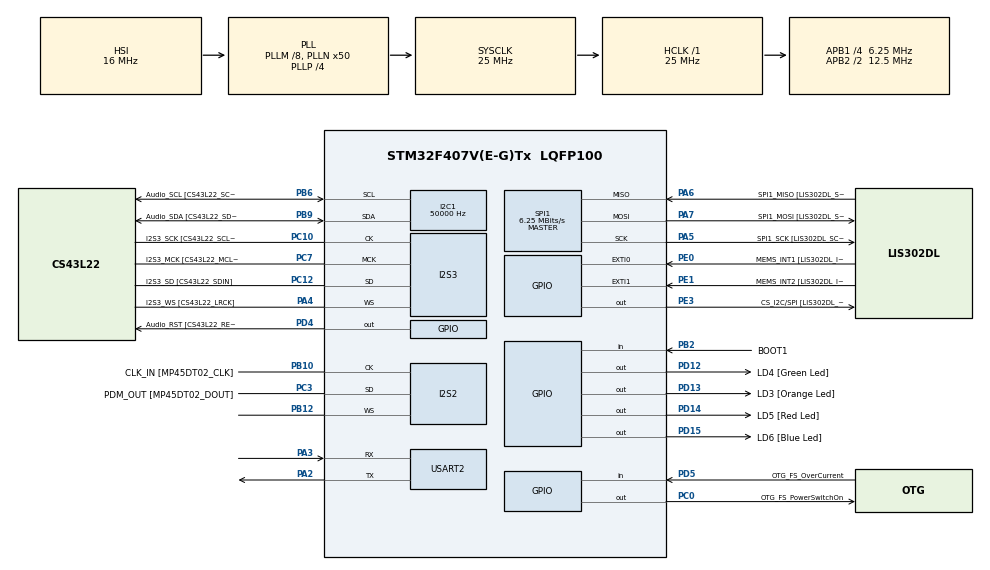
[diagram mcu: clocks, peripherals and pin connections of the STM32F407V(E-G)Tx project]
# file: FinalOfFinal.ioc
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I2C1.ClockSpeed=50000
I2S2.ErrorAudioFreq=2.3 %
I2S2.Mode=I2S_MODE_MASTER_RX
I2S2.RealAudioFreq=196.428 KHz
I2S3.AudioFreq=I2S_AUDIOFREQ_44K
I2S3.ErrorAudioFreq=-2.34 %
I2S3.RealAudioFreq=42.968 KHz
Mcu.Family=STM32F4
Mcu.Name=STM32F407V(E-G)Tx
Mcu.Package=LQFP100
NVIC.PriorityGroup=NVIC_PRIORITYGROUP_0
PA10.GPIO_Label=OTG_FS_ID
PA10.GPIO_Mode=GPIO_MODE_AF_PP
PA10.GPIO_PuPd=GPIO_NOPULL
PA10.GPIO_Speed=GPIO_SPEED_FREQ_LOW
PA10.Signal=USB_OTG_FS_ID
PA11.GPIO_Label=OTG_FS_DM
PA11.GPIO_Mode=GPIO_MODE_AF_PP
PA11.GPIO_PuPd=GPIO_NOPULL
PA11.GPIO_Speed=GPIO_SPEED_FREQ_LOW
PA11.Signal=USB_OTG_FS_DM
PA12.GPIO_Label=OTG_FS_DP
PA12.GPIO_Mode=GPIO_MODE_AF_PP
PA12.GPIO_PuPd=GPIO_NOPULL
PA12.GPIO_Speed=GPIO_SPEED_FREQ_LOW
PA12.Signal=USB_OTG_FS_DP
PA13.GPIO_Label=SWDIO
PA13.Signal=SYS_JTMS-SWDIO
PA14.GPIO_Label=SWCLK
PA14.Signal=SYS_JTCK-SWCLK
PA2.Mode=Asynchronous
PA2.Signal=USART2_TX
PA3.Mode=Asynchronous
PA3.Signal=USART2_RX
PA4.GPIO_Label=I2S3_WS [CS43L22_LRCK]
PA4.GPIO_Mode=GPIO_MODE_AF_PP
PA4.GPIO_PuPd=GPIO_NOPULL
PA4.GPIO_Speed=GPIO_SPEED_FREQ_LOW
PA4.Mode=Half_Duplex_Master
PA4.Signal=I2S3_WS
PA5.GPIO_Label=SPI1_SCK [LIS302DL_SCL/SPC]
PA5.GPIO_Mode=GPIO_MODE_AF_PP
PA5.GPIO_PuPd=GPIO_NOPULL
PA5.GPIO_Speed=GPIO_SPEED_FREQ_LOW
PA5.Mode=Full_Duplex_Master
PA5.Signal=SPI1_SCK
PA6.GPIO_Label=SPI1_MISO [LIS302DL_SDO]
PA6.GPIO_Mode=GPIO_MODE_AF_PP
PA6.GPIO_PuPd=GPIO_NOPULL
PA6.GPIO_Speed=GPIO_SPEED_FREQ_LOW
PA6.Mode=Full_Duplex_Master
PA6.Signal=SPI1_MISO
PA7.GPIO_Label=SPI1_MOSI [LIS302DL_SDA/SDI/SDO]
PA7.GPIO_Mode=GPIO_MODE_AF_PP
PA7.GPIO_PuPd=GPIO_NOPULL
PA7.GPIO_Speed=GPIO_SPEED_FREQ_LOW
PA7.Mode=Full_Duplex_Master
PA7.Signal=SPI1_MOSI
PA9.GPIO_Label=VBUS_FS
PA9.GPIO_Mode=GPIO_MODE_INPUT
PA9.GPIO_PuPd=GPIO_NOPULL
PA9.Signal=USB_OTG_FS_VBUS
PB10.GPIO_Label=CLK_IN [MP45DT02_CLK]
PB10.GPIO_Mode=GPIO_MODE_AF_PP
PB10.GPIO_PuPd=GPIO_NOPULL
PB10.GPIO_Speed=GPIO_SPEED_FREQ_LOW
PB10.Mode=Half_Duplex_Master
PB10.Signal=I2S2_CK
PB12.Mode=Half_Duplex_Master
PB12.Signal=I2S2_WS
PB2.GPIO_Label=BOOT1
PB2.GPIO_Mode=GPIO_MODE_INPUT
PB2.GPIO_PuPd=GPIO_NOPULL
PB2.Signal=GPIO_Input
PB3.GPIO_Label=SWO
PB3.Signal=SYS_JTDO-SWO
PB6.GPIO_Label=Audio_SCL [CS43L22_SCL]
PB6.GPIO_Mode=GPIO_MODE_AF_OD
PB6.GPIO_PuPd=GPIO_NOPULL
PB6.GPIO_Speed=GPIO_SPEED_FREQ_LOW
PB6.Mode=I2C
PB6.Signal=I2C1_SCL
PB9.GPIO_Label=Audio_SDA [CS43L22_SDA]
PB9.GPIO_Mode=GPIO_MODE_AF_OD
PB9.GPIO_PuPd=GPIO_NOPULL
PB9.GPIO_Speed=GPIO_SPEED_FREQ_LOW
PB9.Mode=I2C
PB9.Signal=I2C1_SDA
PC0.GPIO_Label=OTG_FS_PowerSwitchOn
PC0.GPIO_PuPd=GPIO_NOPULL
PC0.GPIO_Speed=GPIO_SPEED_FREQ_LOW
PC0.PinState=GPIO_PIN_SET
PC0.Signal=GPIO_Output
PC10.GPIO_Label=I2S3_SCK [CS43L22_SCLK]
PC10.GPIO_Mode=GPIO_MODE_AF_PP
PC10.GPIO_PuPd=GPIO_NOPULL
PC10.GPIO_Speed=GPIO_SPEED_FREQ_LOW
PC10.Mode=Half_Duplex_Master
PC10.Signal=I2S3_CK
PC12.GPIO_Label=I2S3_SD [CS43L22_SDIN]
PC12.GPIO_Mode=GPIO_MODE_AF_PP
PC12.GPIO_PuPd=GPIO_NOPULL
PC12.GPIO_Speed=GPIO_SPEED_FREQ_LOW
PC12.Mode=Half_Duplex_Master
PC12.Signal=I2S3_SD
PC14-OSC32_IN.GPIO_Label=PC14-OSC32_IN
PC14-OSC32_IN.Signal=RCC_OSC32_IN
PC15-OSC32_OUT.GPIO_Label=PC15-OSC32_OUT
PC15-OSC32_OUT.Signal=RCC_OSC32_OUT
PC3.GPIO_Label=PDM_OUT [MP45DT02_DOUT]
PC3.GPIO_Mode=GPIO_MODE_AF_PP
PC3.GPIO_PuPd=GPIO_NOPULL
PC3.GPIO_Speed=GPIO_SPEED_FREQ_LOW
PC3.Mode=Half_Duplex_Master
PC3.Signal=I2S2_SD
PC7.GPIO_Label=I2S3_MCK [CS43L22_MCLK]
PC7.GPIO_Mode=GPIO_MODE_AF_PP
PC7.GPIO_PuPd=GPIO_NOPULL
PC7.GPIO_Speed=GPIO_SPEED_FREQ_LOW
PC7.Mode=Master_Clock_Activated
PC7.Signal=I2S3_MCK
PD12.GPIO_Label=LD4 [Green Led]
PD12.GPIO_PuPd=GPIO_NOPULL
PD12.GPIO_Speed=GPIO_SPEED_FREQ_LOW
PD12.Signal=GPIO_Output
PD13.GPIO_Label=LD3 [Orange Led]
PD13.GPIO_PuPd=GPIO_NOPULL
PD13.GPIO_Speed=GPIO_SPEED_FREQ_LOW
PD13.Signal=GPIO_Output
PD14.GPIO_Label=LD5 [Red Led]
PD14.GPIO_PuPd=GPIO_NOPULL
PD14.GPIO_Speed=GPIO_SPEED_FREQ_LOW
PD14.Signal=GPIO_Output
PD15.GPIO_Label=LD6 [Blue Led]
PD15.GPIO_PuPd=GPIO_NOPULL
PD15.GPIO_Speed=GPIO_SPEED_FREQ_LOW
PD15.Signal=GPIO_Output
PD4.GPIO_Label=Audio_RST [CS43L22_RESET]
PD4.GPIO_PuPd=GPIO_NOPULL
PD4.GPIO_Speed=GPIO_SPEED_FREQ_LOW
PD4.Signal=GPIO_Output
PD5.GPIO_Label=OTG_FS_OverCurrent
PD5.GPIO_Mode=GPIO_MODE_INPUT
PD5.GPIO_PuPd=GPIO_NOPULL
PD5.Signal=GPIO_Input
PE0.GPIO_Label=MEMS_INT1 [LIS302DL_INT1]
PE0.Signal=GPXTI0
PE1.GPIO_Label=MEMS_INT2 [LIS302DL_INT2]
PE1.GPIO_ModeDefaultEXTI=GPIO_MODE_EVT_RISING
PE1.GPIO_PuPd=GPIO_NOPULL
PE1.Signal=GPXTI1
PE3.GPIO_Label=CS_I2C/SPI [LIS302DL_CS_I2C/SPI]
PE3.GPIO_PuPd=GPIO_NOPULL
PE3.GPIO_Speed=GPIO_SPEED_FREQ_LOW
PE3.Signal=GPIO_Output
PH0-OSC_IN.GPIO_Label=PH0-OSC_IN
PH0-OSC_IN.Signal=RCC_OSC_IN
PH1-OSC_OUT.GPIO_Label=PH1-OSC_OUT
PH1-OSC_OUT.Signal=RCC_OSC_OUT
ProjectManager.HeapSize=0x200
ProjectManager.StackSize=0x400
ProjectManager.TargetToolchain=SW4STM32
RCC.48MHZClocksFreq_Value=14285714.285714285
RCC.AHBFreq_Value=25000000
RCC.APB1CLKDivider=RCC_HCLK_DIV4
RCC.APB1Freq_Value=6250000
RCC.APB1TimFreq_Value=12500000
RCC.APB2CLKDivider=RCC_HCLK_DIV2
RCC.APB2Freq_Value=12500000
RCC.APB2TimFreq_Value=25000000
RCC.CortexFreq_Value=25000000
RCC.HCLKFreq_Value=25000000
RCC.HSE_VALUE=8000000
RCC.HSI_VALUE=16000000
RCC.LSE_VALUE=1000000
RCC.PLLI2SN=88
RCC.PLLI2SR=4
RCC.PLLM=8
RCC.PLLN=50
RCC.PLLP=RCC_PLLP_DIV4
RCC.PLLQ=7
RCC.SYSCLKFreq_VALUE=25000000
RCC.SYSCLKSource=RCC_SYSCLKSOURCE_PLLCLK
RCC.VCOOutputFreq_Value=100000000
SPI1.CalculateBaudRate=6.25 MBits/s
SPI1.Mode=SPI_MODE_MASTER
VP_TIM1_VS_ClockSourceINT.Mode=Internal
board=STM32F407G-DISC1

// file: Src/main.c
/**
  ******************************************************************************
  * File Name          : main.c
  * Description        : Main program body
  ******************************************************************************
  *
  * COPYRIGHT(c) 2016 STMicroelectronics
  *
  * Redistribution and use in source and binary forms, with or without modification,
  * are permitted provided that the following conditions are met:
  *   1. Redistributions of source code must retain the above copyright notice,
  *      this list of conditions and the following disclaimer.
  *   2. Redistributions in binary form must reproduce the above copyright notice,
  *      this list of conditions and the following disclaimer in the documentation
  *      and/or other materials provided with the distribution.
  *   3. Neither the name of STMicroelectronics nor the names of its contributors
  *      may be used to endorse or promote products derived from this software
  *      without specific prior written permission.
  *
  * THIS SOFTWARE IS PROVIDED BY THE COPYRIGHT HOLDERS AND CONTRIBUTORS "AS IS"
  * AND ANY EXPRESS OR IMPLIED WARRANTIES, INCLUDING, BUT NOT LIMITED TO, THE
  * IMPLIED WARRANTIES OF MERCHANTABILITY AND FITNESS FOR A PARTICULAR PURPOSE ARE
  * DISCLAIMED. IN NO EVENT SHALL THE COPYRIGHT HOLDER OR CONTRIBUTORS BE LIABLE
  * FOR ANY DIRECT, INDIRECT, INCIDENTAL, SPECIAL, EXEMPLARY, OR CONSEQUENTIAL
  * DAMAGES (INCLUDING, BUT NOT LIMITED TO, PROCUREMENT OF SUBSTITUTE GOODS OR
  * SERVICES; LOSS OF USE, DATA, OR PROFITS; OR BUSINESS INTERRUPTION) HOWEVER
  * CAUSED AND ON ANY THEORY OF LIABILITY, WHETHER IN CONTRACT, STRICT LIABILITY,
  * OR TORT (INCLUDING NEGLIGENCE OR OTHERWISE) ARISING IN ANY WAY OUT OF THE USE
  * OF THIS SOFTWARE, EVEN IF ADVISED OF THE POSSIBILITY OF SUCH DAMAGE.
  *
  ******************************************************************************
  */
#include "stm32f4xx_hal.h"

/* USER CODE BEGIN Includes */
#include <stdlib.h>
#define CS GPIOE
#define NCS GPIO_PIN_3
#define MSAM 1
#define Left 1
#define Right 2
#define Up 3
#define Down 4
#define X_SIZE 24
#define Y_SIZE 45
#define Bar 1
#define BarMoveLeft 1
#define BarMoveRight 2
#define BarStay 0
#define BarL 15
#define BarX 21
#define Ball 2
#define BallSX 20
#define BallSY 5
#define BallMove 1
#define BallStay 2
#define MAX_Bullet 1
#define NO_OBJ 0
#define MAX_Moveable_obj 10
#define BulletMove 1
#define Bullet 3
#define WIN 1
#define LOSE 2
/* USER CODE END Includes */

I2C_HandleTypeDef hi2c1;

I2S_HandleTypeDef hi2s2;
I2S_HandleTypeDef hi2s3;

SPI_HandleTypeDef hspi1;

TIM_HandleTypeDef htim1;

UART_HandleTypeDef huart2;

/* USER CODE BEGIN PV */
/* Private variables ---------------------------------------------------------*/

/* USER CODE END PV */

void SystemClock_Config(void);
void Error_Handler(void);
static void MX_GPIO_Init(void);
static void MX_I2C1_Init(void);
static void MX_I2S2_Init(void);
static void MX_I2S3_Init(void);
static void MX_SPI1_Init(void);
static void MX_TIM1_Init(void);
static void MX_USART2_UART_Init(void);

/* USER CODE BEGIN PFP */
/* Private function prototypes -----------------------------------------------*/
void send_uart(char* data);
void new_line();
void tab();
uint8_t get_x();
uint8_t get_y();
uint8_t get_z();
uint8_t isLoud();
uint8_t cal_sum(uint16_t data);
void Audio_Init();
void Play_note(int r);
int write_Audio_data(uint8_t address,uint8_t data);
uint8_t read_Audio_data_at(uint8_t address);

/* USER CODE END PFP */

/* USER CODE BEGIN 0 */
uint16_t temp[1];

uint8_t note[] = {
	0x0A, 0x1A, 0x2A, 0x3A, 0x4A, 0x5A, 0x6A, 0x7A, 0x8A, 0x9A, 0xAA, 0xBA, 0xCA, 0xDA, 0xEA, 0xFA

};
uint32_t maxV=0;

typedef struct{
	uint8_t x,y,type,move;
}moveable_obj;
uint8_t map[X_SIZE][Y_SIZE+2];
moveable_obj entityList[MAX_Moveable_obj];
uint8_t n_obj =0;
uint8_t ball_dx = 1;
uint8_t ball_dy = 1;
uint8_t block[]="[XXXXXX] ";
uint8_t blockL = 9;
uint8_t n_bullet = 0;
uint8_t n_block =0;
void go(uint8_t direction){
	uint8_t data[5] ;
	data[0] = 27;
	data[1] = 91;
	data[2] = 'A';
	switch(direction){
	case Left:
		data[2]='D';
		break;
	case Right :
		data[2] = 'C';
		break;
	case Up:
		data[2] = 'A';
		break;
	case Down:
		data[2] = 'B';
		break;
	}
	HAL_UART_Transmit(&huart2,data , 3, 1000);
}

void initMap(){
	int i=0,j=0;
	for(i=0;i<X_SIZE;i++){
		for(j=0;j<Y_SIZE;j++){
			map[i][j]=' ';
		}
		map[i][j]='\n';
		map[i][j+1]='\r';
	}
	i = BarX;
	for(j=0;j<BarL;j++){
		map[i][j]='=';
	}

	for(i=4;i<8;i++){

		for(j=blockL;j<Y_SIZE  ;j++){
			map[i][j-(blockL/2)]=block[j%blockL];
			if(map[i][j-(blockL/2)]=='[')n_block++;
		}
	}

	for(i=0;i<MAX_Moveable_obj;i++){
		entityList[i].type = NO_OBJ;
	}
	n_obj=1;

	entityList[0].move=BarStay;
	entityList[0].x=BarX;
	entityList[0].y=0;
	entityList[0].type = Bar;

	map[BallSX][BallSY]='O';
	n_obj++;
	entityList[1].move=BallMove;
	entityList[1].type = Ball;
	entityList[1].x = BallSX;
	entityList[1].y= BallSY;
}
void db(uint8_t x ,uint8_t y)
{
	if(map[x][y]!=' '){
		map[x][y]=' ';
		db(x,y+1);
		db(x,y-1);
	}
}
void destroy_block(uint8_t x ,uint8_t y){
	Play_note(0);
	db(x,y);
	n_block--;
}

void updateMap(){
	int i;
	for(i=0;i<MAX_Moveable_obj;i++){
		uint8_t type = entityList[i].type;
		uint8_t* move = &entityList[i].move;
		uint8_t* x = &entityList[i].x;
		uint8_t* y = &entityList[i].y;
		switch(type){
		case Bar:
			if(*move == BarMoveLeft){
				if((*y)>0)
				{
					map[*x][(*y)+BarL-1]=' ';
					map[*x][(*y)+BarL-2]=' ';
					(*y)--;
					map[*x][*y]='=';
					(*y)--;
					map[*x][*y]='=';
				}
				*move = BarStay;
			}
			else if(*move == BarMoveRight){
				if((*y)+BarL<Y_SIZE)
				{

					map[*x][(*y)]=' ';
					(*y)++;
					map[*x][(*y)]=' ';
					(*y)++;
					map[*x][(*y)+BarL-1]='=';
					map[*x][(*y)+BarL-2]='=';
				}
				*move = BarStay;
			}
			break;
		case Ball:
			if(*move == BallMove){
				uint8_t nx,ny,insize;
				nx = (*x)+ball_dx;
				ny = (*y)+ball_dy;
				insize = 1;
				if(nx<0||nx>=X_SIZE){
					ball_dx*=-1;
					insize = 0;
					Play_note(4);
				}
				if(ny<0||ny>=Y_SIZE){
					ball_dy*=-1;
					insize = 0;
					Play_note(4);
				}
				if(insize){
					if(map[nx][ny]=='='){
						ball_dx*=-1;
						insize=0;
						Play_note(1);
					}
					else if(map[nx][ny]=='X'||map[nx][ny]=='['||map[nx][ny]==']'){
						destroy_block(nx,ny);
						ball_dx*=-1;
						insize = 0;
					}
				}
				if(insize){
					map[*x][*y]=' ';
					map[nx][ny]='O';
					*x=nx;
					*y=ny;
				}
			}
			break;
		case Bullet:
			map[*x][*y]=' ' ;
			if((*x)-1>=0){
				if(map[(*x)-1][*y]=='X'||map[(*x)-1][*y]=='['||map[(*x)-1][*y]==']'){
					destroy_block((*x)-1,*y);
					entityList[i].type = NO_OBJ;
					n_bullet--;
				}
				else {
					(*x)--;
					map[(*x)][*y]='I';
				}
			}
			else {
				n_bullet--;
				entityList[i].type = NO_OBJ;
			}
		}
	}
}

void at_bullet(){
	Play_note(8);
	uint8_t x = entityList[0].x-1;
	uint8_t y = entityList[0].y+(BarL/2)+1;
	//map[x][y]='I';
	int i=0;

	entityList[2].type = Bullet;
	entityList[2].move = BulletMove;
	entityList[2].x = x-1;
	entityList[2].y = y;

}

void updateDisplay(){
	uint8_t i;
	for(i=0;i<X_SIZE;i++){
		go(Up);
	}
	for(i=0;i<Y_SIZE;i++){
		go(Left);
	}
	for(i=0;i<X_SIZE;i++){
		HAL_UART_Transmit(&huart2,map[i],Y_SIZE,10000);
		if(i!=X_SIZE-1)HAL_UART_Transmit(&huart2,"\n\r",2,10000);
	}
}

void clearDisplay(){
	int i,j;
	for(i=0;i<X_SIZE;i++){
		for(j=0;j<Y_SIZE;j++)
		{
			map[i][j]=' ';
		}
	}
}

/* USER CODE END 0 */

int main(void)
{

  /* MCU Configuration----------------------------------------------------------*/

  /* Reset of all peripherals, Initializes the Flash interface and the Systick. */
  HAL_Init();

  /* Configure the system clock */
  SystemClock_Config();

  /* Initialize all configured peripherals */
  MX_GPIO_Init();
  MX_I2C1_Init();
  MX_I2S2_Init();
  MX_I2S3_Init();
  MX_SPI1_Init();
  MX_TIM1_Init();
  MX_USART2_UART_Init();

  /* USER CODE BEGIN 2 */
  Audio_Init();
  ac_Init();
  initMap();

  n_bullet = 0;
  /* USER CODE END 2 */

  /* Infinite loop */
  /* USER CODE BEGIN WHILE */
  uint8_t data;
  uint8_t x,y,z;
  uint8_t sam = MSAM;
  uint16_t pData[sam];
  int s = 0;
  int ns = 0;
  uint8_t status = 0;
  uint16_t fire = 100;
  while (1)
  {
  /* USER CODE END WHILE */

  /* USER CODE BEGIN 3 */
	  x= get_x();
	  if(x<235&&x>200)
	  {
		  HAL_GPIO_WritePin(GPIOD,GPIO_PIN_12,GPIO_PIN_SET);
		  entityList[0].move = BarMoveLeft;
	  }
	  else
	  {
		  HAL_GPIO_WritePin(GPIOD,GPIO_PIN_12,GPIO_PIN_RESET);
	  }

	  if((x>20&&x<60))
	  {
		  entityList[0].move = BarMoveRight;
		  HAL_GPIO_WritePin(GPIOD,GPIO_PIN_14,GPIO_PIN_SET);
	  }
	  else HAL_GPIO_WritePin(GPIOD,GPIO_PIN_14,GPIO_PIN_RESET);

	  if(isLoud())
	  {
		  if(n_bullet==0)
		  {
			 at_bullet();
			 n_bullet++;
		  }
		  HAL_GPIO_WritePin(GPIOD,GPIO_PIN_13,1);
	  }
	  else HAL_GPIO_WritePin(GPIOD,GPIO_PIN_13,0);

	  updateMap();
	  updateDisplay();

  }

  /* USER CODE END 3 */

}

uint8_t isLoud()
{
	uint16_t pData[16];
	uint8_t sam = 8;
	HAL_I2S_Receive(&hi2s2, &pData, sam, 1000);
    int j,i,np;
    uint32_t nn=0;
    for(j=0;j<sam;j++)
    {
	  uint16_t temp =pData[j];
	  nn+= cal_sum(temp);
    }
    HAL_GPIO_TogglePin(GPIOD,GPIO_PIN_15);

    return nn>43;
}

void make_wave(uint8_t n,char* t)
{

	int i = 0;
	for(i=0;i<16;i++)
	{
		t[i]=' ';
	}
	t[i]='\0';
	if(n>=8)
	{
		HAL_GPIO_WritePin(GPIOD,GPIO_PIN_14,1);
		return;
	}

	if(n<4)
	{
		for(i=n;i<=3;i++)
		{
			t[i]='|';
		}
	}
	else
	{
		for(i = 4;i<=n;i++)
		{
			t[i]='|';
		}
	}

}
uint8_t cal_sum(uint16_t data)
{
	int i;
	uint8_t n=0;
	for(i=0;i<16;i++)
	{
		n+=data%2;
		data/=2;
	}
	return n;
}
void ac_Init()
{
      HAL_GPIO_WritePin(CS,NCS,0);
	  uint8_t data[]={ 0x20,0x47};
	  HAL_SPI_Transmit(&hspi1,&data,2,1000);
	  HAL_GPIO_WritePin(CS,NCS,1);
}
uint8_t get_x()
{
	  uint8_t d;
	  uint8_t data[2];
	  HAL_GPIO_WritePin(CS,NCS,0);
	  data[0] = 0b10101001;
	  HAL_SPI_Transmit(&hspi1,&data[0],1,100);
	  HAL_SPI_Receive(&hspi1,&d,1,100);
	  HAL_GPIO_WritePin(CS,NCS,1);
	  return d;
}
uint8_t get_y()
{
	  uint8_t d;
	  uint8_t data[2];
	  HAL_GPIO_WritePin(CS,NCS,0);
	  data[0] = 0x2B+ 0x80;
	  HAL_SPI_Transmit(&hspi1,&data[0],1,100);
	  HAL_SPI_Receive(&hspi1,&d,1,100);
	  HAL_GPIO_WritePin(CS,NCS,1);
	  return d;
}
uint8_t get_z()
{
	  uint8_t d;
	  uint8_t data[2];
	  HAL_GPIO_WritePin(CS,NCS,0);
	  data[0] = 0x2D + 0x80;
	  HAL_SPI_Transmit(&hspi1,&data[0],1,100);
	  HAL_SPI_Receive(&hspi1,&d,1,100);
	  HAL_GPIO_WritePin(CS,NCS,1);
	  return d;
}
int write_Audio_data(uint8_t address,uint8_t data){
	uint8_t cawrite = 0b10010100;
	uint8_t send_data[2];
	send_data[0]=address;
	send_data[1]=data;
	return HAL_I2C_Master_Transmit(&hi2c1,cawrite,send_data,2,50);
}

uint8_t read_Audio_data_at(uint8_t address){
	uint8_t caread = 0b10010101;
	uint8_t cawrite = 0b10010100;
	HAL_I2C_Master_Transmit(&hi2c1,cawrite,&address,1,10000);
	HAL_I2C_Master_Receive(&hi2c1,caread,&address,1,1000);
	return address;
}

void Play_note(int r){

	if(r < 0 || r > 9) return;

	write_Audio_data(0x1E,0x20);

	write_Audio_data(0x1C,note[r]);

	write_Audio_data(0x1E,0xE0);

	int i;

	for(i=0;i<100;i++)HAL_I2S_Transmit (&hi2s3, temp , 100, 10 );
}

void Audio_Init(){

	  temp[0] = 0;

	  HAL_GPIO_WritePin(GPIOD, GPIO_PIN_4, 0);

	  HAL_Delay(500);

	  HAL_GPIO_WritePin(GPIOD, GPIO_PIN_4, 1); //Reset is set Up (Power CS43L22)
	  HAL_Delay(500);//GPIOD  GPIO_PIN_4

	  write_Audio_data(0x00,0x99);

	  write_Audio_data(0x47,0x80);

	  write_Audio_data(0x32,0x80);

	  write_Audio_data(0x32,0x00);

	  write_Audio_data(0x00,0x00);

	  write_Audio_data(0x1E,0xC0);

	  write_Audio_data(0x02,0x9E);

	  //write_Audio_data(0x1D,0x07);

}
void send_uart(char* data)
{
	int i=0;
	while(data[i]!='\0')
	{
		HAL_UART_Transmit(&huart2,&data[i],1,100);
		i++;
	}
}

void new_line()
{
	HAL_UART_Transmit(&huart2,"\n\r",2,100);
}

void tab()
{
	HAL_UART_Transmit(&huart2,"\t",2,100);
}
/** System Clock Configuration
*/
void SystemClock_Config(void)
{

  RCC_OscInitTypeDef RCC_OscInitStruct;
  RCC_ClkInitTypeDef RCC_ClkInitStruct;
  RCC_PeriphCLKInitTypeDef PeriphClkInitStruct;

  __HAL_RCC_PWR_CLK_ENABLE();

  __HAL_PWR_VOLTAGESCALING_CONFIG(PWR_REGULATOR_VOLTAGE_SCALE1);

  RCC_OscInitStruct.OscillatorType = RCC_OSCILLATORTYPE_HSI;
  RCC_OscInitStruct.HSIState = RCC_HSI_ON;
  RCC_OscInitStruct.HSICalibrationValue = 16;
  RCC_OscInitStruct.PLL.PLLState = RCC_PLL_ON;
  RCC_OscInitStruct.PLL.PLLSource = RCC_PLLSOURCE_HSI;
  RCC_OscInitStruct.PLL.PLLM = 8;
  RCC_OscInitStruct.PLL.PLLN = 50;
  RCC_OscInitStruct.PLL.PLLP = RCC_PLLP_DIV4;
  RCC_OscInitStruct.PLL.PLLQ = 7;
  if (HAL_RCC_OscConfig(&RCC_OscInitStruct) != HAL_OK)
  {
    Error_Handler();
  }

  RCC_ClkInitStruct.ClockType = RCC_CLOCKTYPE_HCLK|RCC_CLOCKTYPE_SYSCLK
                              |RCC_CLOCKTYPE_PCLK1|RCC_CLOCKTYPE_PCLK2;
  RCC_ClkInitStruct.SYSCLKSource = RCC_SYSCLKSOURCE_PLLCLK;
  RCC_ClkInitStruct.AHBCLKDivider = RCC_SYSCLK_DIV1;
  RCC_ClkInitStruct.APB1CLKDivider = RCC_HCLK_DIV4;
  RCC_ClkInitStruct.APB2CLKDivider = RCC_HCLK_DIV2;
  if (HAL_RCC_ClockConfig(&RCC_ClkInitStruct, FLASH_LATENCY_0) != HAL_OK)
  {
    Error_Handler();
  }

  PeriphClkInitStruct.PeriphClockSelection = RCC_PERIPHCLK_I2S;
  PeriphClkInitStruct.PLLI2S.PLLI2SN = 88;
  PeriphClkInitStruct.PLLI2S.PLLI2SR = 4;
  if (HAL_RCCEx_PeriphCLKConfig(&PeriphClkInitStruct) != HAL_OK)
  {
    Error_Handler();
  }

  HAL_SYSTICK_Config(HAL_RCC_GetHCLKFreq()/1000);

  HAL_SYSTICK_CLKSourceConfig(SYSTICK_CLKSOURCE_HCLK);

  /* SysTick_IRQn interrupt configuration */
  HAL_NVIC_SetPriority(SysTick_IRQn, 0, 0);
}

/* I2C1 init function */
static void MX_I2C1_Init(void)
{

  hi2c1.Instance = I2C1;
  hi2c1.Init.ClockSpeed = 50000;
  hi2c1.Init.DutyCycle = I2C_DUTYCYCLE_2;
  hi2c1.Init.OwnAddress1 = 0;
  hi2c1.Init.AddressingMode = I2C_ADDRESSINGMODE_7BIT;
  hi2c1.Init.DualAddressMode = I2C_DUALADDRESS_DISABLE;
  hi2c1.Init.OwnAddress2 = 0;
  hi2c1.Init.GeneralCallMode = I2C_GENERALCALL_DISABLE;
  hi2c1.Init.NoStretchMode = I2C_NOSTRETCH_DISABLE;
  if (HAL_I2C_Init(&hi2c1) != HAL_OK)
  {
    Error_Handler();
  }

}

/* I2S2 init function */
static void MX_I2S2_Init(void)
{

  hi2s2.Instance = SPI2;
  hi2s2.Init.Mode = I2S_MODE_MASTER_RX;
  hi2s2.Init.Standard = I2S_STANDARD_PHILIPS;
  hi2s2.Init.DataFormat = I2S_DATAFORMAT_16B;
  hi2s2.Init.MCLKOutput = I2S_MCLKOUTPUT_DISABLE;
  hi2s2.Init.AudioFreq = I2S_AUDIOFREQ_192K;
  hi2s2.Init.CPOL = I2S_CPOL_LOW;
  hi2s2.Init.ClockSource = I2S_CLOCK_PLL;
  hi2s2.Init.FullDuplexMode = I2S_FULLDUPLEXMODE_DISABLE;
  if (HAL_I2S_Init(&hi2s2) != HAL_OK)
  {
    Error_Handler();
  }

}

/* I2S3 init function */
static void MX_I2S3_Init(void)
{

  hi2s3.Instance = SPI3;
  hi2s3.Init.Mode = I2S_MODE_MASTER_TX;
  hi2s3.Init.Standard = I2S_STANDARD_PHILIPS;
  hi2s3.Init.DataFormat = I2S_DATAFORMAT_16B;
  hi2s3.Init.MCLKOutput = I2S_MCLKOUTPUT_ENABLE;
  hi2s3.Init.AudioFreq = I2S_AUDIOFREQ_44K;
  hi2s3.Init.CPOL = I2S_CPOL_LOW;
  hi2s3.Init.ClockSource = I2S_CLOCK_PLL;
  hi2s3.Init.FullDuplexMode = I2S_FULLDUPLEXMODE_DISABLE;
  if (HAL_I2S_Init(&hi2s3) != HAL_OK)
  {
    Error_Handler();
  }

}

/* SPI1 init function */
static void MX_SPI1_Init(void)
{

  hspi1.Instance = SPI1;
  hspi1.Init.Mode = SPI_MODE_MASTER;
  hspi1.Init.Direction = SPI_DIRECTION_2LINES;
  hspi1.Init.DataSize = SPI_DATASIZE_8BIT;
  hspi1.Init.CLKPolarity = SPI_POLARITY_LOW;
  hspi1.Init.CLKPhase = SPI_PHASE_1EDGE;
  hspi1.Init.NSS = SPI_NSS_SOFT;
  hspi1.Init.BaudRatePrescaler = SPI_BAUDRATEPRESCALER_2;
  hspi1.Init.FirstBit = SPI_FIRSTBIT_MSB;
  hspi1.Init.TIMode = SPI_TIMODE_DISABLE;
  hspi1.Init.CRCCalculation = SPI_CRCCALCULATION_DISABLE;
  hspi1.Init.CRCPolynomial = 10;
  if (HAL_SPI_Init(&hspi1) != HAL_OK)
  {
    Error_Handler();
  }

}

/* TIM1 init function */
static void MX_TIM1_Init(void)
{

  TIM_ClockConfigTypeDef sClockSourceConfig;
  TIM_MasterConfigTypeDef sMasterConfig;

  htim1.Instance = TIM1;
  htim1.Init.Prescaler = 0;
  htim1.Init.CounterMode = TIM_COUNTERMODE_UP;
  htim1.Init.Period = 0;
  htim1.Init.ClockDivision = TIM_CLOCKDIVISION_DIV1;
  htim1.Init.RepetitionCounter = 0;
  if (HAL_TIM_Base_Init(&htim1) != HAL_OK)
  {
    Error_Handler();
  }

  sClockSourceConfig.ClockSource = TIM_CLOCKSOURCE_INTERNAL;
  if (HAL_TIM_ConfigClockSource(&htim1, &sClockSourceConfig) != HAL_OK)
  {
    Error_Handler();
  }

  sMasterConfig.MasterOutputTrigger = TIM_TRGO_RESET;
  sMasterConfig.MasterSlaveMode = TIM_MASTERSLAVEMODE_DISABLE;
  if (HAL_TIMEx_MasterConfigSynchronization(&htim1, &sMasterConfig) != HAL_OK)
  {
    Error_Handler();
  }

}

/* USART2 init function */
static void MX_USART2_UART_Init(void)
{

  huart2.Instance = USART2;
  huart2.Init.BaudRate = 115200;
  huart2.Init.WordLength = UART_WORDLENGTH_8B;
  huart2.Init.StopBits = UART_STOPBITS_1;
  huart2.Init.Parity = UART_PARITY_NONE;
  huart2.Init.Mode = UART_MODE_TX_RX;
  huart2.Init.HwFlowCtl = UART_HWCONTROL_NONE;
  huart2.Init.OverSampling = UART_OVERSAMPLING_16;
  if (HAL_UART_Init(&huart2) != HAL_OK)
  {
    Error_Handler();
  }

}

/** Configure pins as
        * Analog
        * Input
        * Output
        * EVENT_OUT
        * EXTI
     PA9   ------> USB_OTG_FS_VBUS
     PA10   ------> USB_OTG_FS_ID
     PA11   ------> USB_OTG_FS_DM
     PA12   ------> USB_OTG_FS_DP
*/
static void MX_GPIO_Init(void)
{

  GPIO_InitTypeDef GPIO_InitStruct;

  /* GPIO Ports Clock Enable */
  __HAL_RCC_GPIOE_CLK_ENABLE();
  __HAL_RCC_GPIOC_CLK_ENABLE();
  __HAL_RCC_GPIOH_CLK_ENABLE();
  __HAL_RCC_GPIOA_CLK_ENABLE();
  __HAL_RCC_GPIOB_CLK_ENABLE();
  __HAL_RCC_GPIOD_CLK_ENABLE();

  /*Configure GPIO pin Output Level */
  HAL_GPIO_WritePin(CS_I2C_SPI_GPIO_Port, CS_I2C_SPI_Pin, GPIO_PIN_RESET);

  /*Configure GPIO pin Output Level */
  HAL_GPIO_WritePin(OTG_FS_PowerSwitchOn_GPIO_Port, OTG_FS_PowerSwitchOn_Pin, GPIO_PIN_SET);

  /*Configure GPIO pin Output Level */
  HAL_GPIO_WritePin(GPIOD, LD4_Pin|LD3_Pin|LD5_Pin|LD6_Pin
                          |Audio_RST_Pin, GPIO_PIN_RESET);

  /*Configure GPIO pin : CS_I2C_SPI_Pin */
  GPIO_InitStruct.Pin = CS_I2C_SPI_Pin;
  GPIO_InitStruct.Mode = GPIO_MODE_OUTPUT_PP;
  GPIO_InitStruct.Pull = GPIO_NOPULL;
  GPIO_InitStruct.Speed = GPIO_SPEED_FREQ_LOW;
  HAL_GPIO_Init(CS_I2C_SPI_GPIO_Port, &GPIO_InitStruct);

  /*Configure GPIO pin : OTG_FS_PowerSwitchOn_Pin */
  GPIO_InitStruct.Pin = OTG_FS_PowerSwitchOn_Pin;
  GPIO_InitStruct.Mode = GPIO_MODE_OUTPUT_PP;
  GPIO_InitStruct.Pull = GPIO_NOPULL;
  GPIO_InitStruct.Speed = GPIO_SPEED_FREQ_LOW;
  HAL_GPIO_Init(OTG_FS_PowerSwitchOn_GPIO_Port, &GPIO_InitStruct);

  /*Configure GPIO pin : BOOT1_Pin */
  GPIO_InitStruct.Pin = BOOT1_Pin;
  GPIO_InitStruct.Mode = GPIO_MODE_INPUT;
  GPIO_InitStruct.Pull = GPIO_NOPULL;
  HAL_GPIO_Init(BOOT1_GPIO_Port, &GPIO_InitStruct);

  /*Configure GPIO pins : LD4_Pin LD3_Pin LD5_Pin LD6_Pin
                           Audio_RST_Pin */
  GPIO_InitStruct.Pin = LD4_Pin|LD3_Pin|LD5_Pin|LD6_Pin
                          |Audio_RST_Pin;
  GPIO_InitStruct.Mode = GPIO_MODE_OUTPUT_PP;
  GPIO_InitStruct.Pull = GPIO_NOPULL;
  GPIO_InitStruct.Speed = GPIO_SPEED_FREQ_LOW;
  HAL_GPIO_Init(GPIOD, &GPIO_InitStruct);

  /*Configure GPIO pin : VBUS_FS_Pin */
  GPIO_InitStruct.Pin = VBUS_FS_Pin;
  GPIO_InitStruct.Mode = GPIO_MODE_INPUT;
  GPIO_InitStruct.Pull = GPIO_NOPULL;
  HAL_GPIO_Init(VBUS_FS_GPIO_Port, &GPIO_InitStruct);

  /*Configure GPIO pins : OTG_FS_ID_Pin OTG_FS_DM_Pin OTG_FS_DP_Pin */
  GPIO_InitStruct.Pin = OTG_FS_ID_Pin|OTG_FS_DM_Pin|OTG_FS_DP_Pin;
  GPIO_InitStruct.Mode = GPIO_MODE_AF_PP;
  GPIO_InitStruct.Pull = GPIO_NOPULL;
  GPIO_InitStruct.Speed = GPIO_SPEED_FREQ_LOW;
  GPIO_InitStruct.Alternate = GPIO_AF10_OTG_FS;
  HAL_GPIO_Init(GPIOA, &GPIO_InitStruct);

  /*Configure GPIO pin : OTG_FS_OverCurrent_Pin */
  GPIO_InitStruct.Pin = OTG_FS_OverCurrent_Pin;
  GPIO_InitStruct.Mode = GPIO_MODE_INPUT;
  GPIO_InitStruct.Pull = GPIO_NOPULL;
  HAL_GPIO_Init(OTG_FS_OverCurrent_GPIO_Port, &GPIO_InitStruct);

  /*Configure GPIO pin : MEMS_INT1_Pin */
  GPIO_InitStruct.Pin = MEMS_INT1_Pin;
  GPIO_InitStruct.Mode = GPIO_MODE_IT_RISING;
  GPIO_InitStruct.Pull = GPIO_NOPULL;
  HAL_GPIO_Init(MEMS_INT1_GPIO_Port, &GPIO_InitStruct);

  /*Configure GPIO pin : MEMS_INT2_Pin */
  GPIO_InitStruct.Pin = MEMS_INT2_Pin;
  GPIO_InitStruct.Mode = GPIO_MODE_EVT_RISING;
  GPIO_InitStruct.Pull = GPIO_NOPULL;
  HAL_GPIO_Init(MEMS_INT2_GPIO_Port, &GPIO_InitStruct);

}

void Error_Handler(void)
{
  while(1)
  {
  }
}

/************************ (C) COPYRIGHT STMicroelectronics *****END OF FILE****/
